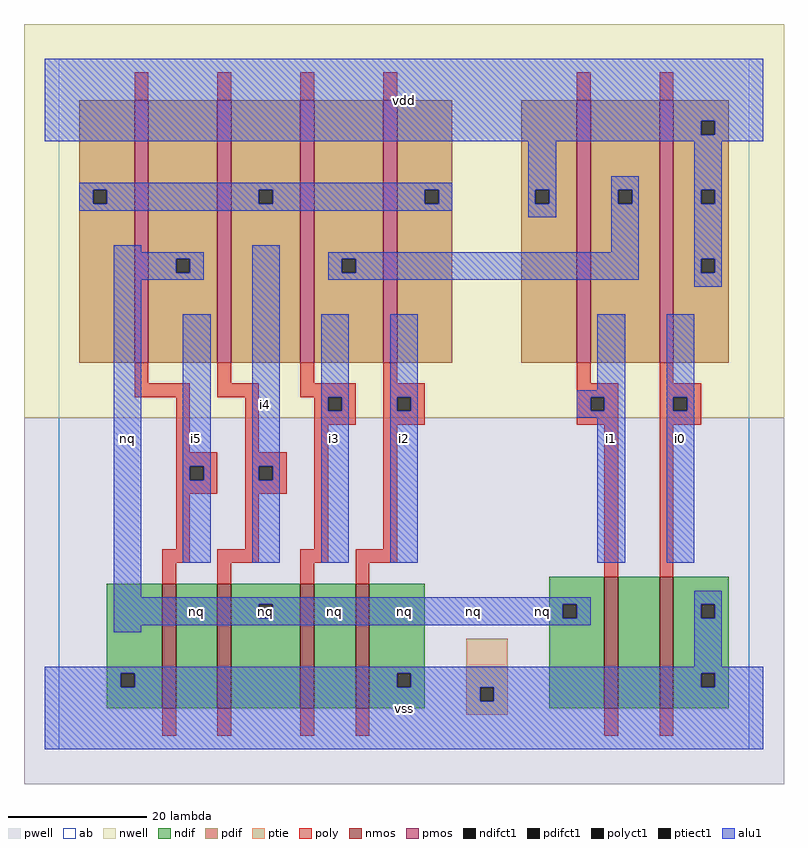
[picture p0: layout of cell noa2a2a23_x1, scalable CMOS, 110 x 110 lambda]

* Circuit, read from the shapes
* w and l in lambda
.subckt noa2a2a23_x1 i0 i1 i2 i3 i4 i5 nq vdd vss
M1 n1 i5 vss vss nfet w=18 l=2
M2 nq i4 n1 vss nfet w=18 l=2
M3 n2 i3 nq vss nfet w=18 l=2
M4 vss i2 n2 vss nfet w=18 l=2
M5 n3 i1 nq vss nfet w=19 l=2
M6 vss i0 n3 vss nfet w=19 l=2
M7 nq i5 n4 n5 pfet w=38 l=2
M8 n4 i4 nq n5 pfet w=38 l=2
M9 n6 i3 n4 n5 pfet w=38 l=2
M10 n4 i2 n6 n5 pfet w=38 l=2
M11 n6 i1 vdd n5 pfet w=38 l=2
M12 vdd i0 n6 n5 pfet w=38 l=2
.ends

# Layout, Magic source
magic
tech scmos
<< ab >>
rect 0 0 100 100
<< nwell >>
rect -5 48 105 105
<< pwell >>
rect -5 -5 105 48
<< poly >>
rect 11 94 13 98
rect 23 94 25 98
rect 35 94 37 98
rect 47 94 49 98
rect 75 94 77 98
rect 87 94 89 98
rect 11 53 13 56
rect 23 53 25 56
rect 35 53 37 56
rect 47 53 49 56
rect 75 53 77 56
rect 87 53 89 56
rect 11 51 19 53
rect 23 51 29 53
rect 35 51 43 53
rect 17 43 19 51
rect 27 43 29 51
rect 37 49 39 51
rect 41 49 43 51
rect 37 47 43 49
rect 47 51 53 53
rect 47 49 49 51
rect 51 49 53 51
rect 47 47 53 49
rect 75 51 81 53
rect 75 49 77 51
rect 79 49 81 51
rect 75 47 81 49
rect 17 41 23 43
rect 17 39 19 41
rect 21 39 23 41
rect 17 37 23 39
rect 27 41 33 43
rect 27 39 29 41
rect 31 39 33 41
rect 27 37 33 39
rect 17 29 19 37
rect 27 29 29 37
rect 37 29 39 47
rect 47 29 49 47
rect 15 27 19 29
rect 23 27 29 29
rect 35 27 39 29
rect 43 27 49 29
rect 15 24 17 27
rect 23 24 25 27
rect 35 24 37 27
rect 43 24 45 27
rect 79 25 81 47
rect 87 51 93 53
rect 87 49 89 51
rect 91 49 93 51
rect 87 47 93 49
rect 87 25 89 47
rect 15 2 17 6
rect 23 2 25 6
rect 35 2 37 6
rect 43 2 45 6
rect 79 2 81 6
rect 87 2 89 6
<< ndif >>
rect 7 11 15 24
rect 7 9 9 11
rect 11 9 15 11
rect 7 6 15 9
rect 17 6 23 24
rect 25 21 35 24
rect 25 19 29 21
rect 31 19 35 21
rect 25 6 35 19
rect 37 6 43 24
rect 45 11 53 24
rect 71 21 79 25
rect 71 19 73 21
rect 75 19 79 21
rect 45 9 49 11
rect 51 9 53 11
rect 45 6 53 9
rect 71 6 79 19
rect 81 6 87 25
rect 89 21 97 25
rect 89 19 93 21
rect 95 19 97 21
rect 89 11 97 19
rect 89 9 93 11
rect 95 9 97 11
rect 89 6 97 9
<< pdif >>
rect 3 81 11 94
rect 3 79 5 81
rect 7 79 11 81
rect 3 56 11 79
rect 13 71 23 94
rect 13 69 17 71
rect 19 69 23 71
rect 13 56 23 69
rect 25 81 35 94
rect 25 79 29 81
rect 31 79 35 81
rect 25 56 35 79
rect 37 71 47 94
rect 37 69 41 71
rect 43 69 47 71
rect 37 56 47 69
rect 49 81 57 94
rect 49 79 53 81
rect 55 79 57 81
rect 49 56 57 79
rect 67 81 75 94
rect 67 79 69 81
rect 71 79 75 81
rect 67 56 75 79
rect 77 81 87 94
rect 77 79 81 81
rect 83 79 87 81
rect 77 56 87 79
rect 89 91 97 94
rect 89 89 93 91
rect 95 89 97 91
rect 89 81 97 89
rect 89 79 93 81
rect 95 79 97 81
rect 89 71 97 79
rect 89 69 93 71
rect 95 69 97 71
rect 89 56 97 69
<< alu1 >>
rect -2 91 102 100
rect -2 89 93 91
rect 95 89 102 91
rect -2 88 102 89
rect 3 81 57 82
rect 3 79 5 81
rect 7 79 29 81
rect 31 79 53 81
rect 55 79 57 81
rect 3 78 57 79
rect 68 81 72 88
rect 68 79 69 81
rect 71 79 72 81
rect 68 77 72 79
rect 80 81 84 83
rect 80 79 81 81
rect 83 79 84 81
rect 8 72 12 73
rect 8 71 21 72
rect 8 69 17 71
rect 19 69 21 71
rect 8 68 21 69
rect 8 22 12 68
rect 18 41 22 63
rect 18 39 19 41
rect 21 39 22 41
rect 18 27 22 39
rect 28 41 32 73
rect 80 72 84 79
rect 39 71 84 72
rect 39 69 41 71
rect 43 69 84 71
rect 39 68 84 69
rect 92 81 96 88
rect 92 79 93 81
rect 95 79 96 81
rect 92 71 96 79
rect 92 69 93 71
rect 95 69 96 71
rect 92 67 96 69
rect 28 39 29 41
rect 31 39 32 41
rect 28 27 32 39
rect 38 51 42 63
rect 38 49 39 51
rect 41 49 42 51
rect 38 27 42 49
rect 48 51 52 63
rect 78 52 82 63
rect 48 49 49 51
rect 51 49 52 51
rect 48 27 52 49
rect 75 51 82 52
rect 75 49 77 51
rect 79 49 82 51
rect 75 48 82 49
rect 78 27 82 48
rect 88 51 92 63
rect 88 49 89 51
rect 91 49 92 51
rect 88 27 92 49
rect 8 21 77 22
rect 8 19 29 21
rect 31 19 73 21
rect 75 19 77 21
rect 8 18 77 19
rect 92 21 96 23
rect 92 19 93 21
rect 95 19 96 21
rect 8 17 12 18
rect 92 12 96 19
rect -2 11 102 12
rect -2 9 9 11
rect 11 9 49 11
rect 51 9 93 11
rect 95 9 102 11
rect -2 7 61 9
rect 63 7 102 9
rect -2 0 102 7
<< ptie >>
rect 59 9 65 16
rect 59 7 61 9
rect 63 7 65 9
rect 59 5 65 7
<< nmos >>
rect 15 6 17 24
rect 23 6 25 24
rect 35 6 37 24
rect 43 6 45 24
rect 79 6 81 25
rect 87 6 89 25
<< pmos >>
rect 11 56 13 94
rect 23 56 25 94
rect 35 56 37 94
rect 47 56 49 94
rect 75 56 77 94
rect 87 56 89 94
<< polyct1 >>
rect 39 49 41 51
rect 49 49 51 51
rect 77 49 79 51
rect 19 39 21 41
rect 29 39 31 41
rect 89 49 91 51
<< ndifct1 >>
rect 9 9 11 11
rect 29 19 31 21
rect 73 19 75 21
rect 49 9 51 11
rect 93 19 95 21
rect 93 9 95 11
<< ptiect1 >>
rect 61 7 63 9
<< pdifct1 >>
rect 5 79 7 81
rect 17 69 19 71
rect 29 79 31 81
rect 41 69 43 71
rect 53 79 55 81
rect 69 79 71 81
rect 81 79 83 81
rect 93 89 95 91
rect 93 79 95 81
rect 93 69 95 71
<< labels >>
rlabel alu1 20 20 20 20 6 nq
rlabel alu1 10 45 10 45 6 nq
rlabel alu1 20 45 20 45 6 i5
rlabel ndifct1 30 20 30 20 6 nq
rlabel alu1 40 20 40 20 6 nq
rlabel alu1 40 45 40 45 6 i3
rlabel alu1 30 50 30 50 6 i4
rlabel alu1 50 20 50 20 6 nq
rlabel alu1 50 6 50 6 6 vss
rlabel alu1 60 20 60 20 6 nq
rlabel alu1 70 20 70 20 6 nq
rlabel alu1 50 45 50 45 6 i2
rlabel alu1 50 94 50 94 6 vdd
rlabel alu1 80 45 80 45 6 i1
rlabel alu1 90 45 90 45 6 i0
<< end >>
